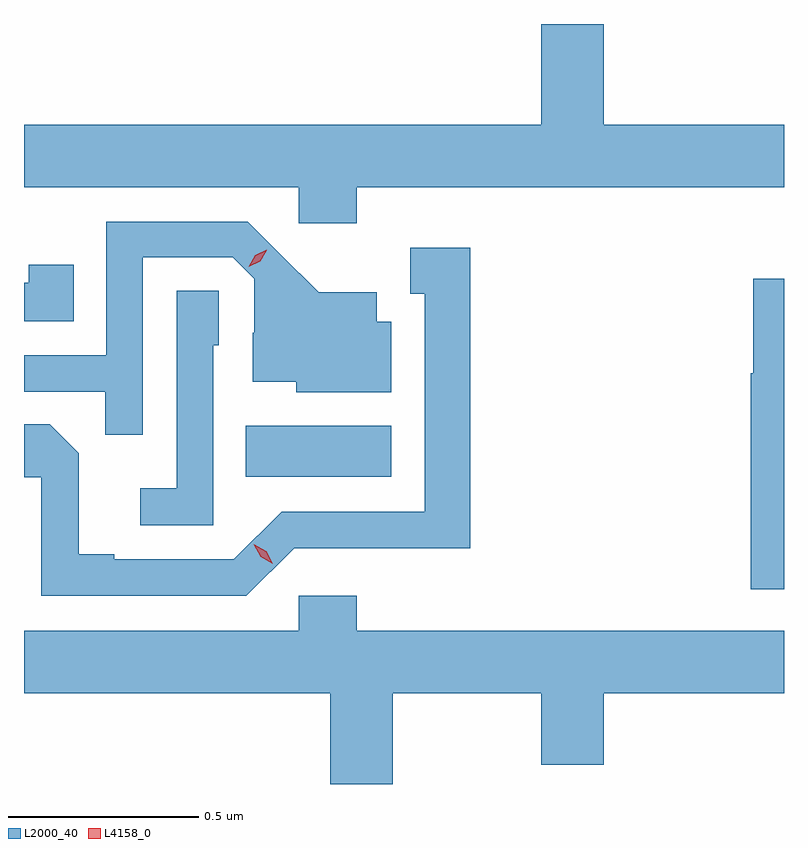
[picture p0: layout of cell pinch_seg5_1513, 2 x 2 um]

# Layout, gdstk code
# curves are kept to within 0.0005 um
import gdstk
lib = gdstk.Library(unit=1e-6, precision=1e-09)
def R(c, l, rs):  # rectangles x0, y0, x1, y1
    for r in rs: c.add(gdstk.rectangle(r[:2], r[2:], *l))
def P(c, l, *ps):  # polygons
    for p in ps: c.add(gdstk.Polygon(p, *l))
L2000_40 = (2000, 40)
L4158_0 = (4158, 0)

pinch_seg5_1513 = lib.new_cell('pinch_seg5_1513')
R(pinch_seg5_1513, L2000_40, [(140.254,878.642,140.638,878.776)])
P(pinch_seg5_1513, L2000_40, [(140.546,879.404),(141.671,879.404),(141.671,879.568),(141.196,879.568),(141.196,879.833),(141.032,879.833),(141.032,879.568),(139.671,879.568),(139.671,879.404),(140.394,879.404),(140.394,879.309),(140.546,879.309)],
  [(139.983,879.219),(140.22,879.219),(140.277,879.162),(140.277,879.02),(140.273,879.02),(140.273,878.891),(140.388,878.891),(140.388,878.864),(140.638,878.864),(140.638,879.049),(140.599,879.049),(140.599,879.127),(140.447,879.127),(140.26,879.312),(139.887,879.312),(139.887,878.961),(139.671,878.961),(139.671,878.865),(139.885,878.865),(139.885,878.752),(139.983,878.752)],
  [(140.382,878.454),(140.604,878.454),(140.604,878.453),(140.845,878.453),(140.845,879.244),(140.687,879.244),(140.687,879.123),(140.726,879.123),(140.726,878.55),(140.349,878.55),(140.223,878.424),(139.909,878.424),(139.909,878.437),(139.815,878.437),(139.815,878.704),(139.739,878.78),(139.671,878.78),(139.671,878.64),(139.716,878.64),(139.716,878.328),(140.256,878.328)],
  [(139.802,879.199),(139.684,879.199),(139.684,879.152),(139.671,879.152),(139.671,879.051),(139.802,879.051)],
  [(141.671,879.163),(141.59,879.163),(141.59,878.914),(141.583,878.914),(141.583,878.346),(141.671,878.346)],
  [(140.169,878.988),(140.184,878.988),(140.184,879.131),(140.073,879.131),(140.073,878.611),(139.977,878.611),(139.977,878.514),(140.169,878.514)],
  [(140.641,878.072),(141.032,878.072),(141.032,877.884),(141.196,877.884),(141.196,878.072),(141.671,878.072),(141.671,878.236),(140.546,878.236),(140.546,878.329),(140.394,878.329),(140.394,878.236),(139.671,878.236),(139.671,878.072),(140.477,878.072),(140.477,877.833),(140.641,877.833)])
P(pinch_seg5_1513, L4158_0, [(140.326,878.412),(140.294,878.431),(140.276,878.464),(140.276,878.464),(140.276,878.464),(140.308,878.445),(140.326,878.413),(140.326,878.412)],
  [(140.262,879.194),(140.262,879.194),(140.279,879.224),(140.31,879.239),(140.31,879.239),(140.31,879.238),(140.293,879.209),(140.262,879.194)])

lib.write_gds('pinch_seg5_1513.gds')
